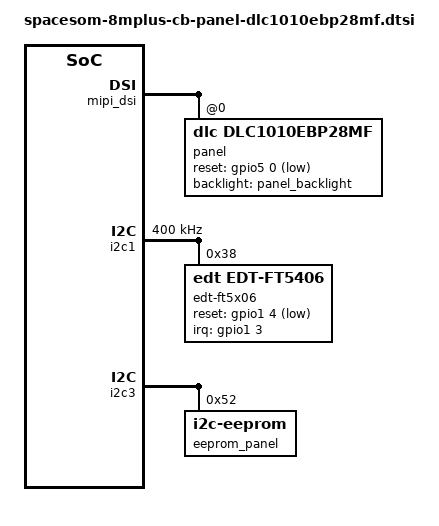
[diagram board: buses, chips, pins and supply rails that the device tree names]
// SPDX-License-Identifier: (GPL-2.0+ OR MIT)
/*
 * Copyright 2024 SomLabs Astar
 *
 */


&mipi_dsi {
        status = "okay";

        panel@0 {
                compatible = "dlc,dlc1010ebp28mf";
                reg = <0>;
                pinctrl-names = "default";
                pinctrl-0 = <&pinctrl_panel_reset>;
                reset-gpios = <&gpio5 0 GPIO_ACTIVE_LOW>;
                backlight = <&panel_backlight>;
                status = "okay"; 
        };
};

&i2c1 {
        clock-frequency = <400000>;
        #address-cells = <1>;
        #size-cells = <0>;
        status = "okay";

        edt-ft5x06@38 {
                compatible = "edt,edt-ft5406";
                reg = <0x38>;
                pinctrl-names = "default";
                pinctrl-0 = <&pinctrl_touch>;
                interrupt-parent = <&gpio1>;
                interrupts = <3 IRQ_TYPE_EDGE_FALLING>;
                reset-gpios = <&gpio1 4 GPIO_ACTIVE_LOW>;
                touchscreen-size-x = <800>;
                touchscreen-inverted-x = "true";
                touchscreen-size-y = <1280>;
        };
};

&i2c3 {
        eeprom_panel: eeprom@52 {
                compatible = "i2c-eeprom", "atmel,24c64";
 		pagesize = <32>;
		address-width = <16>;
 		reg = <0x52>;
        };
};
